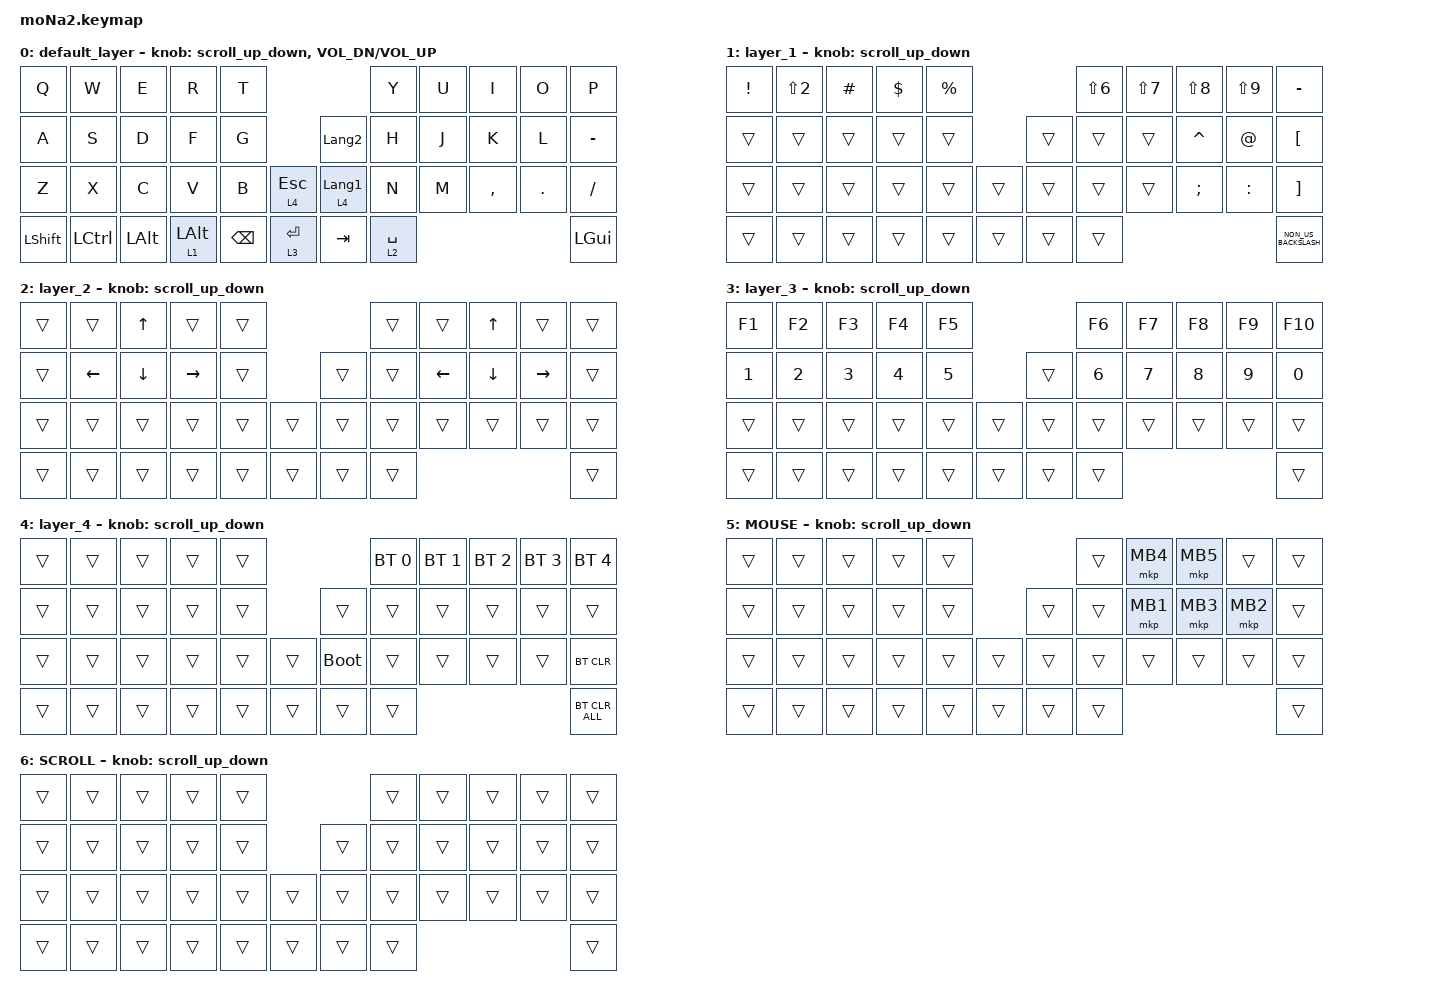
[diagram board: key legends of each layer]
#include <behaviors.dtsi>
#include <dt-bindings/zmk/bt.h>
#include <dt-bindings/zmk/keys.h>
#include <dt-bindings/zmk/pointing.h>

#define ZMK_POINTING_DEFAULT_SCRL_VAL 100
#define MOUSE 5
#define SCROLL 6

&mt {
    flavor = "balanced";
    quick-tap-ms = <0>;
};

/ {
    combos { compatible = "zmk,combos"; };

    macros {
        to_layer_0: to_layer_0 {
            compatible = "zmk,behavior-macro-one-param";
            #binding-cells = <1>;
            bindings = <&to 0 &macro_param_1to1 &kp MACRO_PLACEHOLDER>;
            label = "TO_LAYER_0";
        };
    };

    behaviors {
        lt_to_layer_0: lt_to_layer_0 {
            compatible = "zmk,behavior-hold-tap";
            label = "LAYER_TAP_TO_0";
            bindings = <&mo>, <&to_layer_0>;

            #binding-cells = <2>;
            tapping-term-ms = <200>;
        };

        scroll_up_down: behavior_sensor_rotate_mouse_wheel_up_down {
            compatible = "zmk,behavior-sensor-rotate";
            #sensor-binding-cells = <0>;
            bindings = <&msc SCRL_UP>, <&msc SCRL_DOWN>;

            tap-ms = <20>;
        };
    };

    keymap {
        compatible = "zmk,keymap";

        default_layer {
            bindings = <
&kp Q       &kp W             &kp E         &kp R           &kp T                                           &kp Y        &kp U  &kp I      &kp O       &kp P
&kp A       &kp S             &kp D         &kp F           &kp G                         &kp LANGUAGE_2    &kp H        &kp J  &kp K      &kp L       &kp MINUS
&kp Z       &kp X             &kp C         &kp V           &kp B          &lt 4 ESC      &lt 4 LANGUAGE_1  &kp N        &kp M  &kp COMMA  &kp PERIOD  &kp SLASH
&kp LSHIFT  &kp LEFT_CONTROL  &kp LEFT_ALT  &lt 1 LEFT_ALT  &kp BACKSPACE  &lt 3 ENTER    &kp TAB           &lt 2 SPACE                                &kp LEFT_GUI
            >;

            sensor-bindings =
                <&scroll_up_down>,
                <&inc_dec_kp C_VOL_DN C_VOL_UP>;
        };

        layer_1 {
            bindings = <
&kp EXCLAMATION  &kp LS(N2)  &kp HASH  &kp DOLLAR  &kp PERCENT                    &kp LS(NUMBER_6)  &kp LS(NUMBER_7)  &kp LS(NUMBER_8)  &kp LS(NUMBER_9)  &kp MINUS
&trans           &trans      &trans    &trans      &trans                 &trans  &trans            &trans            &kp CARET         &kp AT_SIGN       &kp LEFT_BRACKET
&trans           &trans      &trans    &trans      &trans       &trans    &trans  &trans            &trans            &kp SEMICOLON     &kp COLON         &kp RIGHT_BRACKET
&trans           &trans      &trans    &trans      &trans       &trans    &trans  &trans                                                                  &kp NON_US_BACKSLASH
            >;

            sensor-bindings = <&scroll_up_down>;
        };

        layer_2 {
            bindings = <
&trans  &trans          &kp UP_ARROW    &trans           &trans                    &trans  &trans          &kp UP_ARROW    &trans           &trans
&trans  &kp LEFT_ARROW  &kp DOWN_ARROW  &kp RIGHT_ARROW  &trans            &trans  &trans  &kp LEFT_ARROW  &kp DOWN_ARROW  &kp RIGHT_ARROW  &trans
&trans  &trans          &trans          &trans           &trans  &trans    &trans  &trans  &trans          &trans          &trans           &trans
&trans  &trans          &trans          &trans           &trans  &trans    &trans  &trans                                                   &trans
            >;

            sensor-bindings = <&scroll_up_down>;
        };

        layer_3 {
            bindings = <
&kp F1        &kp F2        &kp F3        &kp F4        &kp F5                          &kp F6        &kp F7        &kp F8        &kp F9        &kp F10
&kp NUMBER_1  &kp NUMBER_2  &kp NUMBER_3  &kp NUMBER_4  &kp NUMBER_5            &trans  &kp NUMBER_6  &kp NUMBER_7  &kp NUMBER_8  &kp NUMBER_9  &kp NUMBER_0
&trans        &trans        &trans        &trans        &trans        &trans    &trans  &trans        &trans        &trans        &trans        &trans
&trans        &trans        &trans        &trans        &trans        &trans    &trans  &trans                                                  &trans
            >;

            sensor-bindings = <&scroll_up_down>;
        };

        layer_4 {
            bindings = <
&trans  &trans  &trans  &trans  &trans                         &bt BT_SEL 0  &bt BT_SEL 1  &bt BT_SEL 2  &bt BT_SEL 3  &bt BT_SEL 4
&trans  &trans  &trans  &trans  &trans            &trans       &trans        &trans        &trans        &trans        &trans
&trans  &trans  &trans  &trans  &trans  &trans    &bootloader  &trans        &trans        &trans        &trans        &bt BT_CLR
&trans  &trans  &trans  &trans  &trans  &trans    &trans       &trans                                                  &bt BT_CLR_ALL
            >;

            sensor-bindings = <&scroll_up_down>;
        };

        MOUSE {
            bindings = <
&trans  &trans  &trans  &trans  &trans                    &trans  &mkp MB4  &mkp MB5  &trans    &trans
&trans  &trans  &trans  &trans  &trans            &trans  &trans  &mkp MB1  &mkp MB3  &mkp MB2  &trans
&trans  &trans  &trans  &trans  &trans  &trans    &trans  &trans  &trans    &trans    &trans    &trans
&trans  &trans  &trans  &trans  &trans  &trans    &trans  &trans                                &trans
            >;

            sensor-bindings = <&scroll_up_down>;
        };

        SCROLL {
            bindings = <
&trans  &trans  &trans  &trans  &trans                    &trans  &trans  &trans  &trans  &trans
&trans  &trans  &trans  &trans  &trans            &trans  &trans  &trans  &trans  &trans  &trans
&trans  &trans  &trans  &trans  &trans  &trans    &trans  &trans  &trans  &trans  &trans  &trans
&trans  &trans  &trans  &trans  &trans  &trans    &trans  &trans                          &trans
            >;

            sensor-bindings = <&scroll_up_down>;
        };
    };
};
